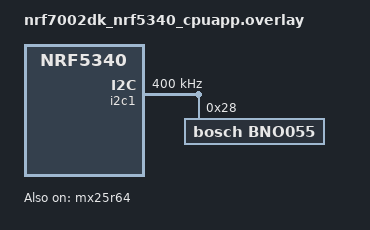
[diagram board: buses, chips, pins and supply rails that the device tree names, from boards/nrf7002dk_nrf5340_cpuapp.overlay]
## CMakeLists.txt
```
# SPDX-License-Identifier: Apache-2.0

cmake_minimum_required(VERSION 3.20.0)

find_package(Zephyr REQUIRED HINTS $ENV{ZEPHYR_BASE})
project(smart_retainer_bno055)

target_sources(app PRIVATE
    src/main.c
    src/bno055_driver.c
    src/ble_imu_service.c
    src/orientation_offset.c
)

target_include_directories(app PRIVATE
    ${CMAKE_CURRENT_SOURCE_DIR}/src
)
```

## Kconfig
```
# SPDX-License-Identifier: Apache-2.0

mainmenu "Blinky Application"

choice SUM_IMPLEMENTATION
    prompt "Sum function implementation"
    default SUM_PRINT
    help
      Select which implementation of the sum function to use

config SUM_PRINT
    bool "Use printk() for sum"
    help
      Use printk() to display sum results

config SUM_LOG
    bool "Use Logger for sum"
    select LOG
    help
      Use Zephyr logging subsystem to display sum results

endchoice

source "Kconfig.zephyr"
```

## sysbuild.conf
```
# Sysbuild Configuration for Smart Retainer with Secure FOTA
# Target: nRF7002 DK (nRF5340)
# ========== Network Core Configuration ==========
# Enable network core with HCI IPC for nRF5340
SB_CONFIG_NETCORE_HCI_IPC=y

# ========== MCUboot Bootloader Configuration ==========
# Enable MCUboot bootloader
SB_CONFIG_BOOTLOADER_MCUBOOT=y

# Use dual-slot configuration for FOTA updates
SB_CONFIG_MCUBOOT_MODE_SINGLE_APP=n

# Use all available RAM for MCUboot
SB_CONFIG_MCUBOOT_USE_ALL_AVAILABLE_RAM=y

# ========== Image Signing Configuration ==========
# Path to private key for signing firmware images
# Generate this key using: imgtool.py keygen -k mcuboot_private_key.pem -t ecdsa-p256
SB_CONFIG_BOOT_SIGNATURE_KEY_FILE="${APP_DIR}/private_key.pem"

# Signature type: ECDSA P-256 (Recommended for security and performance)
SB_CONFIG_BOOT_SIGNATURE_TYPE_ECDSA_P256=y

# ========== External Flash Configuration ==========
# Store secondary slot (update image) in external flash
SB_CONFIG_PM_EXTERNAL_FLASH_MCUBOOT_SECONDARY=y
SB_CONFIG_PM_OVERRIDE_EXTERNAL_DRIVER_CHECK=y


SB_CONFIG_SECURE_BOOT_NETCORE=y
SB_CONFIG_MCUBOOT_UPDATEABLE_IMAGES=2
SB_CONFIG_NETCORE_APP_UPDATE=y
SB_CONFIG_MCUBOOT_NRF53_MULTI_IMAGE_UPDATE=y
SB_CONFIG_MCUBOOT_MODE_OVERWRITE_ONLY=y
# ========== Partition Manager ==========
# Enable partition manager
# SB_CONFIG_PARTITION_MANAGER=y
# SB_CONFIG_PARTITION_MANAGER_ENABLED=y

# ========== Build Configuration ==========
# Generate update file (*.bin) for FOTA
# SB_CONFIG_MCUBOOT_GENERATE_CONFIRMED_IMAGE=n
```

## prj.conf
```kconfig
# Zephyr Project Configuration for Smart Retainer MVP
# Target: nRF7002 DK (nRF5340) with BNO055 IMU
# Fixed: BLE reconnection and memory issues

# ========== Logging ==========
CONFIG_LOG=y
CONFIG_LOG_DEFAULT_LEVEL=3
CONFIG_SENSOR_LOG_LEVEL_DBG=y
CONFIG_LOG_BUFFER_SIZE=4096
CONFIG_LOG_MODE_DEFERRED=y

# ========== Hardware ==========
CONFIG_I2C=y
CONFIG_SENSOR=y
CONFIG_GPIO=y

# ========== BLE Configuration ==========
CONFIG_BT=y
CONFIG_BT_PERIPHERAL=y
CONFIG_BT_DEVICE_NAME="SmartRetainer"
CONFIG_BT_DEVICE_APPEARANCE=833
# CONFIG_BT_CONN=y
# CONFIG_BT_GATT_SERVICE=y
CONFIG_BT_HCI_ACL_FLOW_CONTROL=y
# # GATT Configuration
CONFIG_BT_MAX_CONN=1
CONFIG_BT_MAX_PAIRED=1
CONFIG_BT_GATT_DYNAMIC_DB=y
CONFIG_BT_GATT_CLIENT=y
CONFIG_BT_L2CAP_TX_BUF_COUNT=8
CONFIG_BT_ATT_TX_COUNT=8

# # BLE Stack Sizes
CONFIG_BT_RX_STACK_SIZE=4096

# IPC 工作队列栈大小 (关键!)
CONFIG_IPC_SERVICE_BACKEND_RPMSG_WQ_STACK_SIZE=2048

# ========== BLE Buffer Configuration (KEY FIX for ENOMEM) ==========
# 增加 BLE ACL 缓冲区
# CONFIG_BT_BUF_ACL_TX_COUNT=8
# CONFIG_BT_BUF_ACL_TX_SIZE=251
# CONFIG_BT_BUF_ACL_RX_COUNT=8
# CONFIG_BT_BUF_ACL_RX_SIZE=251

# 允许广播
# CONFIG_BT_BROADCASTER=y

# Connection parameters
# CONFIG_BT_PERIPHERAL_PREF_MIN_INT=6
# CONFIG_BT_PERIPHERAL_PREF_MAX_INT=12
# CONFIG_BT_PERIPHERAL_PREF_LATENCY=0
# CONFIG_BT_PERIPHERAL_PREF_TIMEOUT=400

# ========== Thread Stack Sizes ==========
CONFIG_MAIN_STACK_SIZE=11264
CONFIG_SYSTEM_WORKQUEUE_STACK_SIZE=11264
CONFIG_IDLE_STACK_SIZE=2048
CONFIG_ISR_STACK_SIZE=2048

# ========== Memory Configuration (CRITICAL FOR ENOMEM FIX) ==========
# 从 16KB 增加到 32KB
CONFIG_HEAP_MEM_POOL_SIZE=65536

# ========== Math & Float Support ==========
CONFIG_NEWLIB_LIBC=y
CONFIG_NEWLIB_LIBC_FLOAT_PRINTF=y
CONFIG_FPU=y
CONFIG_FPU_SHARING=y

# ========== Compiler & Debug ==========
CONFIG_DEBUG=y
CONFIG_NO_OPTIMIZATIONS=y

# ========== Stack Protection ==========
CONFIG_MPU_STACK_GUARD=y
CONFIG_THREAD_STACK_INFO=y
CONFIG_THREAD_MONITOR=y
CONFIG_THREAD_NAME=y

# ========== IPC Configuration ==========
CONFIG_IPC_SERVICE=y
CONFIG_MBOX=y

# ========== Assert ==========
CONFIG_ASSERT=y
CONFIG_ASSERT_LEVEL=2

# ========== BLE Connection Manager ==========
# CONFIG_BT_CONN_CTX=y
# CONFIG_BT_CONN=y
# CONFIG_BT_CTLR_DATA_LENGTH=y
# CONFIG_NCS_SAMPLES_DEFAULTS=y
# CONFIG_BT_CTLR_DATA_LENGTH_MAX=251
CONFIG_BT_BUF_ACL_RX_SIZE=251
CONFIG_BT_BUF_ACL_TX_SIZE=251
# CONFIG_BT_RX_BUF_LEN=258
# CONFIG_BT=y
# CONFIG_BT_PERIPHERAL=y
# CONFIG_BT_DEVICE_NAME="Nordic_LBS"

# Enable the LBS service
# CONFIG_BT_LBS=y
# CONFIG_BT_LBS_POLL_BUTTON=y
# CONFIG_DK_LIBRARY=y

# CONFIG_SYSTEM_WORKQUEUE_STACK_SIZE=2048

# Step 2.2 - Enable FOTA over Bluetooth LE
CONFIG_NCS_SAMPLE_MCUMGR_BT_OTA_DFU=y


####################################################
# ========== DFU / MCUBoot 启用 ==========
# (根据你的链接) 告诉系统构建并使用 MCUBoot
CONFIG_BOOTLOADER_MCUBOOT=y

# CONFIG_GPIO=y
# STEP 5.2 - Enable mcumgr DFU in application
# Enable MCUMGR 
CONFIG_MCUMGR=y

# Enable MCUMGR management for both OS and Images
CONFIG_MCUMGR_GRP_OS=y
CONFIG_MCUMGR_GRP_IMG=y

# Configure MCUMGR transport to UART
CONFIG_MCUMGR_TRANSPORT_UART=y

# --- 启用蓝牙 (BLE) 传输 ---
# 这会自动拉入所有必需的蓝牙依赖项 (如 GATT)
CONFIG_MCUMGR_TRANSPORT_BT=y

# --- 为 MCUMgr 传输工作队列设置栈大小 (修复你的堆栈溢出) ---
# 这是所有传输 (BLE, UART等) 共享的栈
CONFIG_MCUMGR_TRANSPORT_WORKQUEUE_STACK_SIZE=4096

# Dependencies
# Configure dependencies for CONFIG_MCUMGR  
CONFIG_NET_BUF=y
CONFIG_ZCBOR=y
CONFIG_CRC=y

# Configure dependencies for CONFIG_MCUMGR_GRP_IMG  
CONFIG_FLASH=y
CONFIG_IMG_MANAGER=y

# Configure dependencies for CONFIG_IMG_MACONFIG_BOOT_SWAP_USING_EXTERNAL_FLASH=yNAGER  
CONFIG_STREAM_FLASH=y
CONFIG_FLASH_MAP=y

# Configure dependencies for CONFIG_MCUMGR_TRANSPORT_UART 
CONFIG_BASE64=y

# STEP 1.1 - Enable QSPI driver for Application
# CONFIG_NORDIC_QSPI_NOR=y
# Step 1.1 - Enable SPI driver for the application
CONFIG_GPIO=y
CONFIG_SPI=y
CONFIG_SPI_NOR=y
CONFIG_SPI_NOR_SFDP_DEVICETREE=y
CONFIG_SPI_NOR_FLASH_LAYOUT_PAGE_SIZE=4096
# QSPI drivers are enabled by defualt for some chips.
# Disable it explicitly to be sure QSPI is disabled.
CONFIG_NORDIC_QSPI_NOR=n 
```

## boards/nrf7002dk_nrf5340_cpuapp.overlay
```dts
// &i2c1 {
//     compatible = "nordic,nrf-twim";
//     status = "okay";
//     clock-frequency = <I2C_BITRATE_FAST>;
    
//     bme280: bme280@77 {
//         compatible = "bosch,bme280";
//         reg = <0x77>;
//         status = "okay";
//     };
// };

// / {
//     aliases {
//         led5180 = &led1;
//         button5180 = &button1;
//     };
// };

// &i2c1 {
//     compatible = "nordic,nrf-twim";
//     status = "okay";
//     clock-frequency = <I2C_BITRATE_FAST>;
//     pinctrl-0 = <&i2c1_default>;
// 	pinctrl-1 = <&i2c1_sleep>;
//     pinctrl-names = "default", "sleep";
    
//     bme280: bme280@77 {
//         compatible = "bosch,bme280";
//         reg = <0x77>;
//         status = "okay";
//     };
// };

// &pinctrl {
// 	/omit-if-no-ref/ i2c1_default: i2c1_default {
// 		group1  {
// 			psels = <NRF_PSEL(TWIM_SCL, 1, 14)>,
// 					<NRF_PSEL(TWIM_SDA, 1, 15)>;
// 		};
// 	};

// 	/omit-if-no-ref/ i2c1_sleep: i2c1_sleep {
// 		group1  {
// 			psels = <NRF_PSEL(TWIM_SCL, 1, 14)>,
// 					<NRF_PSEL(TWIM_SDA, 1, 15)>;
// 			low-power-enable;
// 		};
// 	};
// };

/*
 * Device Tree Overlay for nRF7002 DK
 * LSM6DS0 IMU connected via I2C
 */

/*
 * Device Tree Overlay for nRF7002 DK
 * LSM6DSO IMU connected via I2C
 */

/*
 * Device Tree Overlay for nRF7002 DK
 * BNO055 IMU connected via I2C
 */

&i2c1 {
    compatible = "nordic,nrf-twim";
    status = "okay";
    clock-frequency = <I2C_BITRATE_FAST>; /* 100 kHz for BNO055 */

    bno055: bno055@28 {
        compatible = "bosch,bno055";
        reg = <0x28>;  /* Default I2C address (COM3 pin low) */
                       /* Use 0x29 if COM3 pin is high */
        status = "okay";
    };
};

&pinctrl {
    i2c1_default: i2c1_default {
        group1 {
            psels = <NRF_PSEL(TWIM_SDA, 1, 2)>,
                    <NRF_PSEL(TWIM_SCL, 1, 3)>;
            bias-pull-up;
        };
    };

    i2c1_sleep: i2c1_sleep {
        group1 {
            psels = <NRF_PSEL(TWIM_SDA, 1, 2)>,
                    <NRF_PSEL(TWIM_SCL, 1, 3)>;
            low-power-enable;
        };
    };
};

/* STEP 2.1 - Add external flash to application */
&mx25r64 {
	status = "okay";
};

/ {
	chosen {
		nordic,pm-ext-flash = &mx25r64;
	};
};
```

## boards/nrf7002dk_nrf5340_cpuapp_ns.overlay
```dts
// / {
//     aliases {
//         led5180 = &led1;
//         button5180 = &button1;
//     };
// };

// &i2c1 {
//     compatible = "nordic,nrf-twim";
//     status = "okay";
//     clock-frequency = <I2C_BITRATE_FAST>;
//     pinctrl-0 = <&i2c1_default>;
// 	pinctrl-1 = <&i2c1_sleep>;
//     pinctrl-names = "default", "sleep";
    
//     bme280: bme280@77 {
//         compatible = "bosch,bme280";
//         reg = <0x77>;
//         status = "okay";
//     };
// };

// &pinctrl {
// 	/omit-if-no-ref/ i2c1_default: i2c1_default {
// 		group1  {
// 			psels = <NRF_PSEL(TWIM_SCL, 1, 14)>,
// 					<NRF_PSEL(TWIM_SDA, 1, 15)>;
// 		};
// 	};

// 	/omit-if-no-ref/ i2c1_sleep: i2c1_sleep {
// 		group1  {
// 			psels = <NRF_PSEL(TWIM_SCL, 1, 14)>,
// 					<NRF_PSEL(TWIM_SDA, 1, 15)>;
// 			low-power-enable;
// 		};
// 	};
// };

/*
 * Device Tree Overlay for nRF7002 DK
 * LSM6DS0 IMU connected via I2C
 */

/*
 * Device Tree Overlay for nRF7002 DK
 * LSM6DSO IMU connected via I2C
 */

&i2c1 {
    compatible = "nordic,nrf-twim";
    status = "okay";
    clock-frequency = <I2C_BITRATE_FAST>; /* 400 kHz */

    lsm6dso: lsm6dso@6b {
        compatible = "st,lsm6dso";
        reg = <0x6b>;
        status = "okay";
        
        /* Accelerometer configuration */
        /* ODR values: 0=PowerDown, 1=12.5Hz, 2=26Hz, 3=52Hz, 4=104Hz, 
                       5=208Hz, 6=417Hz, 7=833Hz, 8=1667Hz, 9=3333Hz, 10=6667Hz */
        accel-odr = <4>;      /* 104 Hz */
        accel-range = <0>;    /* 0=±2g, 1=±4g, 2=±8g, 3=±16g */
        
        /* Gyroscope configuration */
        /* ODR values: same as accel */
        gyro-odr = <4>;       /* 104 Hz */
        gyro-range = <0>;     /* 0=±250dps, 1=±500dps, 2=±1000dps, 3=±2000dps */
        
    };
};

&pinctrl {
    i2c1_default: i2c1_default {
        group1 {
            psels = <NRF_PSEL(TWIM_SDA, 1, 2)>,
                    <NRF_PSEL(TWIM_SCL, 1, 3)>;
            bias-pull-up;
        };
    };

    i2c1_sleep: i2c1_sleep {
        group1 {
            psels = <NRF_PSEL(TWIM_SDA, 1, 2)>,
                    <NRF_PSEL(TWIM_SCL, 1, 3)>;
            low-power-enable;
        };
    };
};
```

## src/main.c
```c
/**
 * @file main.c
 * @brief Smart Retainer with Enhanced BNO055 IMU - IMU Mode (No Magnetometer)
 * 
 * Key improvements in this version:
 * - Uses IMU mode (accelerometer + gyroscope only) for faster calibration
 * - No magnetometer = no magnetic interference issues
 * - Automatic calibration persistence
 * - Dynamic calibration monitoring
 * - Better calibration guidance
 */

#include <zephyr/kernel.h>
#include <zephyr/device.h>
#include <zephyr/drivers/gpio.h>
#include <zephyr/logging/log.h>

#include "bno055_driver.h"
#include "ble_imu_service.h"
#include "orientation_offset.h"

#ifndef M_PI
#define M_PI 3.14159265358979323846
#endif

LOG_MODULE_REGISTER(main, LOG_LEVEL_INF);

/* LED configuration */
#define LED0_NODE DT_ALIAS(led0)
static const struct gpio_dt_spec led = GPIO_DT_SPEC_GET(LED0_NODE, gpios);

/* Button for zero-point calibration */
#define BUTTON_NODE DT_ALIAS(sw0)
static const struct gpio_dt_spec button = GPIO_DT_SPEC_GET(BUTTON_NODE, gpios);
static struct gpio_callback button_cb_data;

/* Timing configuration */
#define IMU_SAMPLE_RATE_HZ      100
#define IMU_SAMPLE_PERIOD_MS    (1000 / IMU_SAMPLE_RATE_HZ)

/* Zero-point calibration settings */
#define ZERO_CALIB_SAMPLES      20    /* Number of samples to average */
#define ZERO_CALIB_DELAY_MS     50    /* Delay between samples */

/* Calibration check interval */
#define CALIB_CHECK_INTERVAL_MS 5000  /* Check every 5 seconds */

/* Thread stack */
#define IMU_THREAD_STACK_SIZE   4096
#define IMU_THREAD_PRIORITY     5

K_THREAD_STACK_DEFINE(imu_thread_stack, IMU_THREAD_STACK_SIZE);
static struct k_thread imu_thread_data;

/* LED blink state */
static bool led_state = false;

/* Flags */
volatile bool calibrate_zero_point = false;
static volatile bool save_calibration = false;
static volatile bool recalibrate_sensor = false;

/* Calibration state tracking */
static struct {
    uint32_t last_check_time;
    bool warning_shown;
    uint8_t last_sys_calib;
    uint8_t last_gyro_calib;
    uint8_t last_accel_calib;
} calib_state = {0};

/* Statistics tracking */
static struct {
    uint32_t total_samples;
    uint32_t valid_samples;
    uint32_t invalid_samples;
    float max_norm_deviation;
    uint32_t last_calib_save_time;
    uint32_t calib_warnings;
} system_stats = {0};

/**
 * @brief BLE control command handler
 */
static void ble_control_handler(uint8_t cmd)
{
    switch (cmd) {
    case BLE_IMU_CMD_SET_ZERO:
        LOG_INF("🎯 Zero-point calibration requested via BLE");
        calibrate_zero_point = true;
        break;
        
    case BLE_IMU_CMD_RESET:
        LOG_INF("Reset requested via BLE");
        orientation_offset_reset();
        break;
        
    case BLE_IMU_CMD_CALIBRATE:
        LOG_INF("Sensor calibration requested via BLE");
        save_calibration = true;
        break;
        
    default:
        LOG_DBG("Unhandled BLE command: 0x%02x", cmd);
        break;
    }
}

/**
 * @brief Flash LED pattern
 */
static void led_flash_pattern(int count, int delay_ms)
{
    for (int i = 0; i < count; i++) {
        gpio_pin_set_dt(&led, 1);
        k_msleep(delay_ms);
        gpio_pin_set_dt(&led, 0);
        k_msleep(delay_ms);
    }
}

/**
 * @brief Button press handler - triggers zero-point calibration
 */
static void button_pressed(const struct device *dev, struct gpio_callback *cb, 
                          uint32_t pins)
{
    static uint32_t last_press = 0;
    uint32_t current = k_uptime_get_32();
    
    /* Debounce: ignore presses within 200ms */
    if (current - last_press < 200) {
        return;
    }
    last_press = current;
    
    /* Check for long press (>2 seconds) for calibration save */
    if (gpio_pin_get_dt(&button) == 1) {
        k_msleep(2000);
        if (gpio_pin_get_dt(&button) == 1) {
            LOG_INF("💾 Long press detected - saving calibration");
            save_calibration = true;
            led_flash_pattern(5, 100);
            return;
        }
    }
    
    /* Short press for zero-point calibration */
    calibrate_zero_point = true;
    LOG_INF("🎯 Zero-point calibration requested!");
}

/**
 * @brief LED heartbeat function
 */
static void led_heartbeat(void)
{
    if (!device_is_ready(led.port)) {
        return;
    }
    led_state = !led_state;
    gpio_pin_set_dt(&led, led_state);
}

/**
 * @brief Display calibration status with guidance
 */
static void display_calibration_status(const bno055_calibration_t *calib)
{
    LOG_INF("📊 Calibration Status:");
    LOG_INF("  System:  [%s%s%s] %d/3", 
            calib->sys >= 1 ? "■" : "□",
            calib->sys >= 2 ? "■" : "□",
            calib->sys >= 3 ? "■" : "□",
            calib->sys);
    LOG_INF("  Gyro:    [%s%s%s] %d/3", 
            calib->gyro >= 1 ? "■" : "□",
            calib->gyro >= 2 ? "■" : "□",
            calib->gyro >= 3 ? "■" : "□",
            calib->gyro);
    LOG_INF("  Accel:   [%s%s%s] %d/3", 
            calib->accel >= 1 ? "■" : "□",
            calib->accel >= 2 ? "■" : "□",
            calib->accel >= 3 ? "■" : "□",
            calib->accel);
    
    /* IMU mode doesn't use magnetometer */
    LOG_INF("  Mag:     [---] (unused in IMU mode)");
    
    /* Provide specific guidance for uncalibrated sensors */
    if (calib->gyro < 3) {
        LOG_INF("  ⚠️  Gyro: Keep device COMPLETELY STILL for 3 seconds");
    }
    if (calib->accel < 3) {
        LOG_INF("  ⚠️  Accel: Place device in 6 orientations (±X, ±Y, ±Z)");
        LOG_INF("      Hold each position for 2-3 seconds");
    }
    // if (calib->sys < 2) {
    //     LOG_INF("  ⚠️  System calibration insufficient");
    // }
}

/**
 * @brief Monitor calibration status and alert if degraded
 */
static void monitor_calibration(const bno055_calibration_t *calib)
{
    uint32_t now = k_uptime_get_32();
    
    /* Check every CALIB_CHECK_INTERVAL_MS */
    if (now - calib_state.last_check_time < CALIB_CHECK_INTERVAL_MS) {
        return;
    }
    
    calib_state.last_check_time = now;
    
    /* Detect calibration degradation */
    bool calib_degraded = false;
    
    if (calib->sys < 2 || calib->gyro < 2 || calib->accel < 2) {
        calib_degraded = true;
    }
    
    /* Alert if calibration degraded and we haven't warned recently */
    if (calib_degraded && !calib_state.warning_shown) {
        system_stats.calib_warnings++;
        
        LOG_WRN("⚠️  CALIBRATION DEGRADED!");
        display_calibration_status(calib);
        
        /* Visual feedback */
        led_flash_pattern(3, 100);
        
        calib_state.warning_shown = true;
        
        LOG_INF("💡 TIP: Move to open area and recalibrate:");
        LOG_INF("   1. Keep device still (Gyro)");
        LOG_INF("   2. Place in 6 orientations (Accel)");
        
    } else if (!calib_degraded && calib_state.warning_shown) {
        /* Calibration recovered */
        LOG_INF("✅ Calibration recovered!");
        calib_state.warning_shown = false;
        
        /* Auto-save good calibration */
        if (calib->sys >= 3 && calib->gyro >= 3 && calib->accel >= 3) {
            save_calibration = true;
        }
    }
    
    /* Track calibration changes */
    if (calib->sys != calib_state.last_sys_calib ||
        calib->gyro != calib_state.last_gyro_calib ||
        calib->accel != calib_state.last_accel_calib) {
        
        LOG_DBG("Calibration update: S=%d G=%d A=%d",
                calib->sys, calib->gyro, calib->accel);
        
        calib_state.last_sys_calib = calib->sys;
        calib_state.last_gyro_calib = calib->gyro;
        calib_state.last_accel_calib = calib->accel;
    }
}

/**
 * @brief Convert BNO055 data to attitude structure with offset correction
 */
static void bno055_to_attitude(const bno055_data_t *bno_data, attitude_t *attitude)
{
    bno055_quaternion_t corrected_quat;
    
    /* Check input validity */
    if (!bno_data || !attitude) {
        return;
    }

    /* Apply orientation offset correction */
    orientation_offset_apply(&bno_data->quaternion, &corrected_quat);
    
    /* Validate quaternion */
    float norm = sqrtf(corrected_quat.w * corrected_quat.w + 
                      corrected_quat.x * corrected_quat.x +
                      corrected_quat.y * corrected_quat.y + 
                      corrected_quat.z * corrected_quat.z);
    
    if (fabsf(norm - 1.0f) > 0.01f) {
        system_stats.invalid_samples++;
        if (fabsf(norm - 1.0f) > system_stats.max_norm_deviation) {
            system_stats.max_norm_deviation = fabsf(norm - 1.0f);
        }
        LOG_DBG("Quaternion norm deviation: %.6f", fabsf(norm - 1.0f));
    } else {
        system_stats.valid_samples++;
    }
    
    /* Copy corrected quaternion */
    attitude->quaternion.w = corrected_quat.w;
    attitude->quaternion.x = corrected_quat.x;
    attitude->quaternion.y = corrected_quat.y;
    attitude->quaternion.z = corrected_quat.z;

    /* Convert Euler angles to radians if needed */
    if (bno_data->euler.heading <= 360.0f) {  /* Degrees */
        attitude->euler.roll = bno_data->euler.roll * M_PI / 180.0f;
        attitude->euler.pitch = bno_data->euler.pitch * M_PI / 180.0f;
        attitude->euler.yaw = bno_data->euler.heading * M_PI / 180.0f;
    } else {  /* Already in radians */
        attitude->euler.roll = bno_data->euler.roll;
        attitude->euler.pitch = bno_data->euler.pitch;
        attitude->euler.yaw = bno_data->euler.heading;
    }

    attitude->timestamp = bno_data->timestamp;
}

/**
 * @brief Perform averaged zero-point calibration
 */
static void perform_zero_point_calibration(void)
{
    bno055_quaternion_t samples[ZERO_CALIB_SAMPLES];
    bno055_data_t bno_data;
    int err;
    int valid_samples = 0;
    
    LOG_INF("");
    LOG_INF("╔══════════════════════════════════════╗");
    LOG_INF("║    🎯 ZERO-POINT CALIBRATION         ║");
    LOG_INF("╠══════════════════════════════════════╣");
    LOG_INF("║ 📋 Instructions:                     ║");
    LOG_INF("║   1. Wear the retainer comfortably   ║");
    LOG_INF("║   2. Look straight ahead at screen   ║");
    LOG_INF("║   3. Keep your head STILL            ║");
    LOG_INF("║   4. Collecting %2d samples...        ║", ZERO_CALIB_SAMPLES);
    LOG_INF("╚══════════════════════════════════════╝");
    LOG_INF("");
    
    /* Visual feedback */
    led_flash_pattern(2, 100);
    k_msleep(1000);
    
    /* Collect samples */
    for (int i = 0; i < ZERO_CALIB_SAMPLES; i++) {
        err = bno055_read_all(&bno_data);
        if (err) {
            LOG_ERR("Failed to read sample %d: %d", i + 1, err);
            continue;
        }
        
        /* Validate quaternion */
        float norm = sqrtf(bno_data.quaternion.w * bno_data.quaternion.w +
                          bno_data.quaternion.x * bno_data.quaternion.x +
                          bno_data.quaternion.y * bno_data.quaternion.y +
                          bno_data.quaternion.z * bno_data.quaternion.z);
        
        if (fabsf(norm - 1.0f) < 0.05f) {  /* Accept if reasonably normalized */
            samples[valid_samples++] = bno_data.quaternion;
            
            if (i % 5 == 0) {
                LOG_INF("Progress: [%s%s%s%s] %d/%d",
                        i >= 5 ? "■" : "□",
                        i >= 10 ? "■" : "□",
                        i >= 15 ? "■" : "□",
                        i >= 20 ? "■" : "□",
                        i + 1, ZERO_CALIB_SAMPLES);
            }
        } else {
            LOG_WRN("Sample %d rejected (norm=%.4f)", i + 1, norm);
        }
        
        k_msleep(ZERO_CALIB_DELAY_MS);
    }
    
    if (valid_samples < ZERO_CALIB_SAMPLES / 2) {
        LOG_ERR("Insufficient valid samples (%d/%d)", valid_samples, ZERO_CALIB_SAMPLES);
        LOG_ERR("❌ Zero-point calibration FAILED");
        led_flash_pattern(5, 50);
        return;
    }
    
    /* Apply averaged offset */
    err = orientation_offset_set_zero_averaged(samples, valid_samples);
    if (err) {
        LOG_ERR("Failed to set zero offset: %d", err);
        led_flash_pattern(5, 50);
        return;
    }
    
    LOG_INF("");
    LOG_INF("✅ ZERO-POINT SET SUCCESSFULLY!");
    LOG_INF("   Valid samples: %d/%d", valid_samples, ZERO_CALIB_SAMPLES);
    LOG_INF("   Current orientation is now ZERO reference");
    LOG_INF("");
    
    /* Save to persistent storage */
    err = orientation_offset_save();
    if (err) {
        LOG_WRN("Failed to save offset to storage: %d", err);
    } else {
        LOG_INF("💾 Zero-point saved to persistent storage");
    }
    
    /* Success feedback */
    led_flash_pattern(3, 200);
}

/**
 * @brief Save sensor calibration profile
 */
static void save_sensor_calibration(void)
{
    int err;
    
    if (!bno055_is_fully_calibrated()) {
        bno055_calibration_t calib;
        bno055_get_calibration(&calib);
        
        LOG_WRN("Cannot save - sensor not fully calibrated");
        display_calibration_status(&calib);
        return;
    }
    
    err = bno055_save_calibration_profile();
    if (err) {
        LOG_ERR("Failed to save calibration: %d", err);
        return;
    }
    
    system_stats.last_calib_save_time = k_uptime_get_32();
    LOG_INF("💾 Sensor calibration saved successfully");
    led_flash_pattern(3, 200);
}

/**
 * @brief IMU processing thread
 */
static void imu_thread(void *p1, void *p2, void *p3)
{
    ARG_UNUSED(p1);
    ARG_UNUSED(p2);
    ARG_UNUSED(p3);

    bno055_data_t bno_data;
    attitude_t attitude;
    int err;
    uint32_t led_counter = 0;
    uint32_t stats_counter = 0;

    LOG_INF("🔄 IMU thread started");

    /* Wait for initial stabilization */
    k_msleep(1000);

    while (1) {
        /* Check if zero-point calibration requested */
        if (calibrate_zero_point) {
            calibrate_zero_point = false;
            perform_zero_point_calibration();
        }
        
        /* Check if calibration save requested */
        if (save_calibration) {
            save_calibration = false;
            save_sensor_calibration();
        }

        /* Read all BNO055 data */
        err = bno055_read_all(&bno_data);
        if (err) {
            LOG_ERR("Failed to read BNO055: %d", err);
            k_msleep(IMU_SAMPLE_PERIOD_MS);
            continue;
        }
        
        system_stats.total_samples++;

        /* Monitor calibration status */
        monitor_calibration(&bno_data.calibration);

        /* Convert to attitude structure (with offset correction) */
        bno055_to_attitude(&bno_data, &attitude);

        /* Convert radians to degrees for logging */
        float roll_deg = attitude.euler.roll * 180.0f / M_PI;
        float pitch_deg = attitude.euler.pitch * 180.0f / M_PI;
        float yaw_deg = attitude.euler.yaw * 180.0f / M_PI;

        /* Send data via BLE if connected */
        if (ble_imu_service_is_subscribed()) {
            err = ble_imu_service_send_attitude(&attitude);
            if (err && err != -ENOTCONN) {
                LOG_WRN("Failed to send attitude: %d", err);
            }
        }

        /* LED heartbeat and logging at 1 Hz */
        led_counter++;
        if (led_counter >= IMU_SAMPLE_RATE_HZ) {
            led_heartbeat();
            led_counter = 0;
            
            /* Log current orientation */
            LOG_INF("📐 R=%.1f° P=%.1f° Y=%.1f° | "
                    "Q[%.3f,%.3f,%.3f,%.3f] | Cal[S%dG%dA%d] | %s",
                    (double)roll_deg, (double)pitch_deg, (double)yaw_deg,
                    (double)attitude.quaternion.w,
                    (double)attitude.quaternion.x,
                    (double)attitude.quaternion.y,
                    (double)attitude.quaternion.z,
                    bno_data.calibration.sys, bno_data.calibration.gyro,
                    bno_data.calibration.accel,
                    orientation_offset_is_set() ? "ZEROED" : "RELATIVE");
        }
        
        /* Display statistics every 30 seconds */
        stats_counter++;
        if (stats_counter >= IMU_SAMPLE_RATE_HZ * 30) {
            stats_counter = 0;
            
            orientation_stats_t offset_stats;
            orientation_offset_get_stats(&offset_stats);
            
            LOG_INF("=== System Statistics ===");
            LOG_INF("  Uptime: %lu seconds", k_uptime_get_32() / 1000);
            LOG_INF("  Total samples: %lu", system_stats.total_samples);
            LOG_INF("  Valid samples: %lu (%.1f%%)", 
                    system_stats.valid_samples,
                    (double)(system_stats.valid_samples * 100.0f / 
                            system_stats.total_samples));
            LOG_INF("  Max norm deviation: %.6f", 
                    (double)system_stats.max_norm_deviation);
            LOG_INF("  Drift corrections: %lu", 
                    offset_stats.drift_corrections);
            LOG_INF("  Calibration warnings: %lu",
                    system_stats.calib_warnings);
            
            if (!bno055_is_fully_calibrated()) {
                LOG_WRN("⚠️  Sensor not fully calibrated!");
                display_calibration_status(&bno_data.calibration);
            }
        }

        k_msleep(IMU_SAMPLE_PERIOD_MS);
    }
}

/**
 * @brief Initialize system components
 */
static int system_init(void)
{
    int err;
    
    LOG_INF("╔════════════════════════════════════════╗");
    LOG_INF("║  Smart Retainer Initialization         ║");
    LOG_INF("║  IMU Mode (Accel + Gyro Only)          ║");
    LOG_INF("╚════════════════════════════════════════╝");

    /* Initialize LED */
    if (device_is_ready(led.port)) {
        err = gpio_pin_configure_dt(&led, GPIO_OUTPUT_INACTIVE);
        if (err) {
            LOG_WRN("LED init failed: %d", err);
        }
    }
    LOG_INF("[1/6] ✅ LED initialized");

    /* Initialize Button */
    if (device_is_ready(button.port)) {
        err = gpio_pin_configure_dt(&button, GPIO_INPUT);
        if (err) {
            LOG_WRN("Button init failed: %d", err);
        } else {
            err = gpio_pin_interrupt_configure_dt(&button, GPIO_INT_EDGE_TO_ACTIVE);
            if (err) {
                LOG_WRN("Button interrupt config failed: %d", err);
            } else {
                gpio_init_callback(&button_cb_data, button_pressed, BIT(button.pin));
                gpio_add_callback(button.port, &button_cb_data);
                LOG_INF("[2/6] ✅ Button initialized");
                LOG_INF("       • Short press: Set zero point");
                LOG_INF("       • Long press (2s): Save calibration");
            }
        }
    }

    /* Initialize orientation offset system */
    orientation_offset_init();
    LOG_INF("[3/6] ✅ Orientation offset system initialized");

    /* Initialize BNO055 with IMU mode configuration */
    bno055_config_t bno_config = {
        .address = BNO055_ADDRESS_A,
        .mode = BNO055_OPERATION_MODE_IMU,  /* ⭐ IMU mode - no magnetometer */
        .use_external_crystal = true,
        .units_in_radians = false
    };

    /* Enable auto-save of calibration */
    bno055_enable_auto_calibration_save(true);

    err = bno055_init(&bno_config);
    if (err) {
        LOG_ERR("❌ BNO055 init failed: %d", err);
        return err;
    }
    LOG_INF("[4/6] ✅ BNO055 initialized in IMU mode");
    LOG_INF("       • Using: Accelerometer + Gyroscope");
    LOG_INF("       • No magnetometer (no magnetic interference)");

    /* Try to load saved calibration profile */
    err = bno055_load_calibration_profile();
    if (err == 0) {
        LOG_INF("[5/6] ✅ Loaded saved calibration profile");
    } else {
        LOG_INF("[5/6] ⏳ No saved calibration, starting auto-calibration");
        LOG_INF("       Please follow calibration instructions:");
        LOG_INF("       1. Keep device STILL for 3 seconds (Gyro)");
        LOG_INF("       2. Place in 6 orientations, 2s each (Accel)");
        LOG_INF("          ±X (left/right), ±Y (front/back), ±Z (up/down)");
    }

    /* Try to load saved zero-point offset */
    err = orientation_offset_load();
    if (err == 0) {
        LOG_INF("       ✅ Loaded saved zero-point offset");
    } else {
        LOG_INF("       ℹ️  No saved zero-point (use button to set)");
    }

    /* Initialize BLE service */
    k_msleep(100);
    err = ble_imu_service_init();
    if (err) {
        LOG_ERR("❌ BLE init failed: %d", err);
        LOG_WRN("⚠️  Continuing without BLE...");
    } else {
        LOG_INF("[6/6] ✅ BLE service initialized");
        
        /* Register BLE control command callback */
        ble_imu_service_register_control_callback(ble_control_handler);
        LOG_INF("       • BLE control callback registered");
    }

    LOG_INF("");
    LOG_INF("╔════════════════════════════════════════╗");
    LOG_INF("║  ✅ INITIALIZATION COMPLETE             ║");
    LOG_INF("╠════════════════════════════════════════╣");
    LOG_INF("║  💡 USAGE INSTRUCTIONS:                ║");
    LOG_INF("║   • Wear retainer comfortably          ║");
    LOG_INF("║   • Look straight ahead                ║");
    LOG_INF("║   • Press button to set zero point     ║");
    LOG_INF("║   • Long press to save calibration     ║");
    LOG_INF("║   • Use BLE app for remote control     ║");
    LOG_INF("╚════════════════════════════════════════╝");
    LOG_INF("");
    
    return 0;
}

/**
 * @brief Main function
 */
int main(void)
{
    int err;

    LOG_INF("╔════════════════════════════════════════╗");
    LOG_INF("║  Smart Retainer MVP v5.0 (IMU Mode)   ║");
    LOG_INF("║  BNO055 + Fast Calibration            ║");
    LOG_INF("╠════════════════════════════════════════╣");
    LOG_INF("║  Build: " __DATE__ " " __TIME__ "      ║");
    LOG_INF("╚════════════════════════════════════════╝");

    err = system_init();
    if (err) {
        LOG_ERR("❌ System initialization failed: %d", err);
        
        /* Flash error pattern */
        if (device_is_ready(led.port)) {
            while (1) {
                led_flash_pattern(3, 100);
                k_msleep(2000);
            }
        }
        return err;
    }

    /* Perform initial self-test */
    LOG_INF("🔍 Performing sensor self-test...");
    bno055_self_test();

    /* Create IMU processing thread */
    k_thread_create(&imu_thread_data, imu_thread_stack,
                    K_THREAD_STACK_SIZEOF(imu_thread_stack),
                    imu_thread,
                    NULL, NULL, NULL,
                    IMU_THREAD_PRIORITY, K_FP_REGS, K_NO_WAIT);

    k_thread_name_set(&imu_thread_data, "imu_thread");

    LOG_INF("✅ Smart Retainer started successfully");
    LOG_INF("🔄 System ready for operation");
    LOG_INF("");
    
    return 0;
}
```

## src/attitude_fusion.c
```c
/**
 * @file attitude_fusion.c
 * @brief Madgwick AHRS adapted for Y-axis gravity
 * 
 * COORDINATE SYSTEM:
 * - X: Right
 * - Y: Up (gravity is -Y, approximately -9.8 m/s²)
 * - Z: Forward
 * 
 * This is adapted from standard Madgwick which assumes Z-up.
 * We modify the gradient descent to work with Y-up configuration.
 */

#include "attitude_fusion.h"
#include <zephyr/logging/log.h>
#include <math.h>
#include <float.h>

#ifndef M_PI
#define M_PI 3.14159265358979323846
#endif

LOG_MODULE_REGISTER(attitude_fusion, LOG_LEVEL_DBG);

/* Filter parameters */
static float beta_gain = 0.3f;
static float sample_period = 0.01f;

/* Gyro bias calibration */
static float gyro_bias_x = 0.0f;
static float gyro_bias_y = 0.0f;
static float gyro_bias_z = 0.0f;
static bool bias_calibrated = false;

/* Current quaternion state */
static quaternion_t q = {1.0f, 0.0f, 0.0f, 0.0f};
static bool initialized = false;

/* Motion detection */
#define MOTION_THRESHOLD 0.15f
#define ACCEL_THRESHOLD 0.5f

/**
 * @brief Calibrate gyroscope bias
 */
int attitude_fusion_calibrate_gyro(const imu_data_t *samples, int num_samples)
{
    if (!samples || num_samples < 10) {
        LOG_ERR("Invalid calibration parameters");
        return -EINVAL;
    }

    float sum_x = 0.0f, sum_y = 0.0f, sum_z = 0.0f;

    LOG_INF("Starting gyro calibration with %d samples...", num_samples);
    LOG_INF("Keep device STATIONARY!");

    for (int i = 0; i < num_samples; i++) {
        sum_x += samples[i].gyro_x;
        sum_y += samples[i].gyro_y;
        sum_z += samples[i].gyro_z;
    }

    gyro_bias_x = sum_x / num_samples;
    gyro_bias_y = sum_y / num_samples;
    gyro_bias_z = sum_z / num_samples;

    bias_calibrated = true;

    LOG_INF("Gyro bias calibrated:");
    LOG_INF("  X: %.4f rad/s", (double)gyro_bias_x);
    LOG_INF("  Y: %.4f rad/s", (double)gyro_bias_y);
    LOG_INF("  Z: %.4f rad/s", (double)gyro_bias_z);

    return 0;
}

/**
 * @brief Initialize attitude fusion
 */
int attitude_fusion_init(float beta, float sample_period_s)
{
    LOG_INF("attitude_fusion_init: Entry");
    LOG_INF("  beta=%d/1000, period=%d/1000 s", 
            (int)(beta * 1000), (int)(sample_period_s * 1000));
    
    if (beta <= 0.0f || sample_period_s <= 0.0f) {
        LOG_ERR("Invalid parameters");
        return -EINVAL;
    }

    beta_gain = beta;
    sample_period = sample_period_s;
    
    /* Initialize quaternion to identity */
    q.w = 1.0f;
    q.x = 0.0f;
    q.y = 0.0f;
    q.z = 0.0f;
    
    initialized = true;
    
    LOG_INF("attitude_fusion_init: Success");
    LOG_INF("Coordinate system: X=Right, Y=Up(gravity=-Y), Z=Forward");
    
    return 0;
}

/**
 * @brief Detect if device is stationary
 */
static bool is_stationary(float gx, float gy, float gz, float ax, float ay, float az)
{
    float gyro_mag = sqrtf(gx*gx + gy*gy + gz*gz);
    float accel_mag = sqrtf(ax*ax + ay*ay + az*az);
    float accel_deviation = fabsf(accel_mag - 9.8f);
    
    return (gyro_mag < MOTION_THRESHOLD) && (accel_deviation < ACCEL_THRESHOLD);
}

/**
 * @brief Madgwick AHRS update adapted for Y-axis gravity
 * 
 * Modified gradient descent algorithm that expects:
 * - Gravity on -Y axis (down direction)
 * - Accelerometer reads approximately [0, -9.8, 0] when upright
 */
int attitude_fusion_update(const imu_data_t *imu_data, attitude_t *attitude)
{
    if (!initialized || !imu_data || !attitude) {
        return -EINVAL;
    }

    /* Apply gyro bias correction */
    float ax = imu_data->accel_x;
    float ay = imu_data->accel_y;
    float az = imu_data->accel_z;
    float gx = imu_data->gyro_x - (bias_calibrated ? gyro_bias_x : 0.0f);
    float gy = imu_data->gyro_y - (bias_calibrated ? gyro_bias_y : 0.0f);
    float gz = imu_data->gyro_z - (bias_calibrated ? gyro_bias_z : 0.0f);

    float qw = q.w, qx = q.x, qy = q.y, qz = q.z;
    float norm;
    float s0, s1, s2, s3;
    float qDot1, qDot2, qDot3, qDot4;
    float _2qw, _2qx, _2qy, _2qz, _4qw, _4qx, _4qy, _8qx, _8qy, qwqw, qxqx, qyqy, qzqz;

    /* Detect if stationary */
    bool stationary = is_stationary(gx, gy, gz, ax, ay, az);
    float effective_beta = stationary ? (beta_gain * 2.0f) : beta_gain;

    /* Normalize accelerometer measurement */
    norm = sqrtf(ax * ax + ay * ay + az * az);
    if (norm < 0.0001f) {
        return 0;
    }
    norm = 1.0f / norm;
    ax *= norm;
    ay *= norm;
    az *= norm;

    /* Auxiliary variables */
    _2qw = 2.0f * qw;
    _2qx = 2.0f * qx;
    _2qy = 2.0f * qy;
    _2qz = 2.0f * qz;
    _4qw = 4.0f * qw;
    _4qx = 4.0f * qx;
    _4qy = 4.0f * qy;
    _8qx = 8.0f * qx;
    _8qy = 8.0f * qy;
    qwqw = qw * qw;
    qxqx = qx * qx;
    qyqy = qy * qy;
    qzqz = qz * qz;

    /* Gradient descent - ADAPTED FOR Y-AXIS GRAVITY
     * 
     * Standard Madgwick assumes gravity on Z: [0, 0, -1]
     * We have gravity on -Y: [0, -1, 0]
     * 
     * Gravity vector in body frame from quaternion (Y-down version):
     * gx_body = 2*(qx*qy - qw*qz)
     * gy_body = qw*qw - qx*qx + qy*qy - qz*qz  <- Should equal -1 for upright
     * gz_body = 2*(qy*qz + qw*qx)
     * 
     * Objective function: f = [ax - gx_body, ay - gy_body, az - gz_body]
     */
    
    /* Compute gradient (derivative of objective function) */
    s0 = -_2qz * (2.0f * (qx*qy - qw*qz) - ax) + 
          _2qw * (qwqw - qxqx + qyqy - qzqz - ay) +
          _2qx * (2.0f * (qy*qz + qw*qx) - az);
    
    s1 = _2qy * (2.0f * (qx*qy - qw*qz) - ax) +
         -_2qx * (qwqw - qxqx + qyqy - qzqz - ay) +
          _2qw * (2.0f * (qy*qz + qw*qx) - az);
    
    s2 = _2qx * (2.0f * (qx*qy - qw*qz) - ax) +
          _2qy * (qwqw - qxqx + qyqy - qzqz - ay) +
          _2qz * (2.0f * (qy*qz + qw*qx) - az);
    
    s3 = -_2qw * (2.0f * (qx*qy - qw*qz) - ax) +
         -_2qz * (qwqw - qxqx + qyqy - qzqz - ay) +
          _2qy * (2.0f * (qy*qz + qw*qx) - az);
    
    /* Normalize gradient */
    norm = sqrtf(s0 * s0 + s1 * s1 + s2 * s2 + s3 * s3);
    if (norm < 0.0001f) {
        norm = 1.0f;
    } else {
        norm = 1.0f / norm;
    }
    s0 *= norm;
    s1 *= norm;
    s2 *= norm;
    s3 *= norm;

    /* Compute rate of change of quaternion from gyroscope */
    qDot1 = 0.5f * (-qx * gx - qy * gy - qz * gz) - effective_beta * s0;
    qDot2 = 0.5f * (qw * gx + qy * gz - qz * gy) - effective_beta * s1;
    qDot3 = 0.5f * (qw * gy - qx * gz + qz * gx) - effective_beta * s2;
    qDot4 = 0.5f * (qw * gz + qx * gy - qy * gx) - effective_beta * s3;

    /* Integrate to yield quaternion */
    qw += qDot1 * sample_period;
    qx += qDot2 * sample_period;
    qy += qDot3 * sample_period;
    qz += qDot4 * sample_period;

    /* Normalize quaternion */
    norm = sqrtf(qw * qw + qx * qx + qy * qy + qz * qz);
    if (norm < 0.0001f) {
        q.w = 1.0f;
        q.x = 0.0f;
        q.y = 0.0f;
        q.z = 0.0f;
    } else {
        norm = 1.0f / norm;
        q.w = qw * norm;
        q.x = qx * norm;
        q.y = qy * norm;
        q.z = qz * norm;
    }

    /* Store results */
    attitude->quaternion = q;
    quaternion_to_euler(&q, &attitude->euler);
    attitude->timestamp = imu_data->timestamp;

    return 0;
}

/**
 * @brief Convert quaternion to Euler angles (ZYX convention)
 * 
 * For Y-up coordinate system:
 * - Roll: Rotation around X-axis (right)
 * - Pitch: Rotation around Y-axis (up)
 * - Yaw: Rotation around Z-axis (forward)
 */
void quaternion_to_euler(const quaternion_t *q, euler_angles_t *euler)
{
    float qw = q->w, qx = q->x, qy = q->y, qz = q->z;

    /* Roll (rotation around X-axis) */
    float sinr_cosp = 2.0f * (qw * qx + qy * qz);
    float cosr_cosp = 1.0f - 2.0f * (qx * qx + qy * qy);
    euler->roll = atan2f(sinr_cosp, cosr_cosp);

    /* Pitch (rotation around Y-axis) */
    float sinp = 2.0f * (qw * qy - qz * qx);
    if (fabsf(sinp) >= 1.0f) {
        euler->pitch = copysignf(M_PI / 2.0f, sinp);
    } else {
        euler->pitch = asinf(sinp);
    }

    /* Yaw (rotation around Z-axis) */
    float siny_cosp = 2.0f * (qw * qz + qx * qy);
    float cosy_cosp = 1.0f - 2.0f * (qy * qy + qz * qz);
    euler->yaw = atan2f(siny_cosp, cosy_cosp);
}

void attitude_fusion_reset(void)
{
    q.w = 1.0f;
    q.x = 0.0f;
    q.y = 0.0f;
    q.z = 0.0f;
    LOG_INF("Attitude fusion reset");
}

int attitude_fusion_get_current(attitude_t *attitude)
{
    if (!initialized || !attitude) {
        return -EINVAL;
    }

    attitude->quaternion = q;
    quaternion_to_euler(&q, &attitude->euler);
    attitude->timestamp = k_uptime_get_32();

    return 0;
}

bool attitude_fusion_is_calibrated(void)
{
    return bias_calibrated;
}
```

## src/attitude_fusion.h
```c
/**
 * @file attitude_fusion.h
 * @brief Improved attitude estimation with gyro calibration
 */

#ifndef ATTITUDE_FUSION_H
#define ATTITUDE_FUSION_H

#include "imu_driver.h"

#ifdef __cplusplus
extern "C" {
#endif

/* Quaternion structure */
typedef struct {
    float w;  /* Scalar part */
    float x;  /* Vector part X */
    float y;  /* Vector part Y */
    float z;  /* Vector part Z */
} quaternion_t;

/* Euler angles structure (in radians) */
typedef struct {
    float roll;   /* Roll angle (rotation around X-axis) */
    float pitch;  /* Pitch angle (rotation around Y-axis) */
    float yaw;    /* Yaw angle (rotation around Z-axis) */
} euler_angles_t;

/* Attitude data structure */
typedef struct {
    quaternion_t quaternion;    /* Orientation as quaternion */
    euler_angles_t euler;       /* Orientation as Euler angles */
    uint32_t timestamp;         /* Timestamp in milliseconds */
} attitude_t;

/**
 * @brief Initialize attitude fusion algorithm
 * 
 * @param beta Algorithm gain (typical: 0.1 to 0.5)
 * @param sample_period_s Sampling period in seconds
 * @return 0 on success, negative errno on failure
 */
int attitude_fusion_init(float beta, float sample_period_s);

/**
 * @brief Calibrate gyroscope bias (device must be stationary)
 * 
 * @param samples Array of IMU samples
 * @param num_samples Number of samples (minimum 10, recommended 100+)
 * @return 0 on success, negative errno on failure
 */
int attitude_fusion_calibrate_gyro(const imu_data_t *samples, int num_samples);

/**
 * @brief Update attitude estimation with new IMU data
 * 
 * @param imu_data Pointer to IMU data
 * @param attitude Pointer to store calculated attitude
 * @return 0 on success, negative errno on failure
 */
int attitude_fusion_update(const imu_data_t *imu_data, attitude_t *attitude);

/**
 * @brief Reset attitude to initial state
 */
void attitude_fusion_reset(void);

/**
 * @brief Get current attitude
 * 
 * @param attitude Pointer to store current attitude
 * @return 0 on success, negative errno on failure
 */
int attitude_fusion_get_current(attitude_t *attitude);

/**
 * @brief Check if gyro bias calibration is complete
 * 
 * @return true if calibrated
 */
bool attitude_fusion_is_calibrated(void);

/**
 * @brief Convert quaternion to Euler angles
 * 
 * @param q Input quaternion
 * @param euler Output Euler angles
 */
void quaternion_to_euler(const quaternion_t *q, euler_angles_t *euler);

#ifdef __cplusplus
}
#endif

#endif /* ATTITUDE_FUSION_H */
```

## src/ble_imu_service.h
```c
/**
 * @file ble_imu_service.h
 * @brief BLE GATT service for IMU data transmission
 * 
 * Custom GATT service for streaming attitude data via BLE
 * Compatible with BNO055 IMU driver
 */

#ifndef BLE_IMU_SERVICE_H
#define BLE_IMU_SERVICE_H

#include <zephyr/kernel.h>
#include <zephyr/bluetooth/bluetooth.h>
#include <zephyr/bluetooth/conn.h>
#include <zephyr/bluetooth/gatt.h>

#ifdef __cplusplus
extern "C" {
#endif

/* Custom UUID for IMU Service: 12345678-1234-5678-1234-56789abcdef0 */
#define BT_UUID_IMU_SERVICE_VAL \
    BT_UUID_128_ENCODE(0x12345678, 0x1234, 0x5678, 0x1234, 0x56789abcdef0)

/* Quaternion Characteristic UUID: 12345678-1234-5678-1234-56789abcdef1 */
#define BT_UUID_IMU_QUATERNION_VAL \
    BT_UUID_128_ENCODE(0x12345678, 0x1234, 0x5678, 0x1234, 0x56789abcdef1)

/* Euler Angles Characteristic UUID: 12345678-1234-5678-1234-56789abcdef2 */
#define BT_UUID_IMU_EULER_VAL \
    BT_UUID_128_ENCODE(0x12345678, 0x1234, 0x5678, 0x1234, 0x56789abcdef2)

/* Control Characteristic UUID: 12345678-1234-5678-1234-56789abcdef3 */
#define BT_UUID_IMU_CONTROL_VAL \
    BT_UUID_128_ENCODE(0x12345678, 0x1234, 0x5678, 0x1234, 0x56789abcdef3)

#define BT_UUID_IMU_SERVICE      BT_UUID_DECLARE_128(BT_UUID_IMU_SERVICE_VAL)
#define BT_UUID_IMU_QUATERNION   BT_UUID_DECLARE_128(BT_UUID_IMU_QUATERNION_VAL)
#define BT_UUID_IMU_EULER        BT_UUID_DECLARE_128(BT_UUID_IMU_EULER_VAL)
#define BT_UUID_IMU_CONTROL      BT_UUID_DECLARE_128(BT_UUID_IMU_CONTROL_VAL)

/* Quaternion structure */
typedef struct {
    float w;  /* Scalar part */
    float x;  /* Vector part X */
    float y;  /* Vector part Y */
    float z;  /* Vector part Z */
} quaternion_t;

/* Euler angles structure (in radians) */
typedef struct {
    float roll;   /* Roll angle (rotation around X-axis) */
    float pitch;  /* Pitch angle (rotation around Y-axis) */
    float yaw;    /* Yaw angle (rotation around Z-axis) */
} euler_angles_t;

/* Attitude data structure */
typedef struct {
    quaternion_t quaternion;    /* Orientation as quaternion */
    euler_angles_t euler;       /* Orientation as Euler angles */
    uint32_t timestamp;         /* Timestamp in milliseconds */
} attitude_t;

/* Data packet structures for BLE transmission */
typedef struct __attribute__((packed)) {
    float w;
    float x;
    float y;
    float z;
    uint32_t timestamp;
} ble_quaternion_packet_t;

typedef struct __attribute__((packed)) {
    float roll;
    float pitch;
    float yaw;
    uint32_t timestamp;
} ble_euler_packet_t;

/* Control commands */
typedef enum {
    BLE_IMU_CMD_START = 0x01,
    BLE_IMU_CMD_STOP = 0x02,
    BLE_IMU_CMD_RESET = 0x03,
    BLE_IMU_CMD_CALIBRATE = 0x04,
    BLE_IMU_CMD_SET_ZERO = 0x05  /* NEW: Set zero-point calibration */
} ble_imu_control_cmd_t;

/**
 * @brief Control command callback type
 * 
 * Register a callback to handle control commands from BLE client
 */
typedef void (*ble_imu_control_callback_t)(uint8_t cmd);

/**
 * @brief Initialize BLE IMU service
 * 
 * @return 0 on success, negative errno on failure
 */
int ble_imu_service_init(void);

/**
 * @brief Send attitude data via BLE notifications
 * 
 * @param attitude Pointer to attitude data
 * @return 0 on success, negative errno on failure
 */
int ble_imu_service_send_attitude(const attitude_t *attitude);

/**
 * @brief Check if BLE client is connected and subscribed
 * 
 * @return true if notifications are enabled
 */
bool ble_imu_service_is_subscribed(void);

/**
 * @brief Get connection status
 * 
 * @return true if BLE is connected
 */
bool ble_imu_service_is_connected(void);

/**
 * @brief Register callback for control commands
 * 
 * @param callback Function to call when control command received
 */
void ble_imu_service_register_control_callback(ble_imu_control_callback_t callback);

#ifdef __cplusplus
}
#endif

#endif /* BLE_IMU_SERVICE_H */
```
